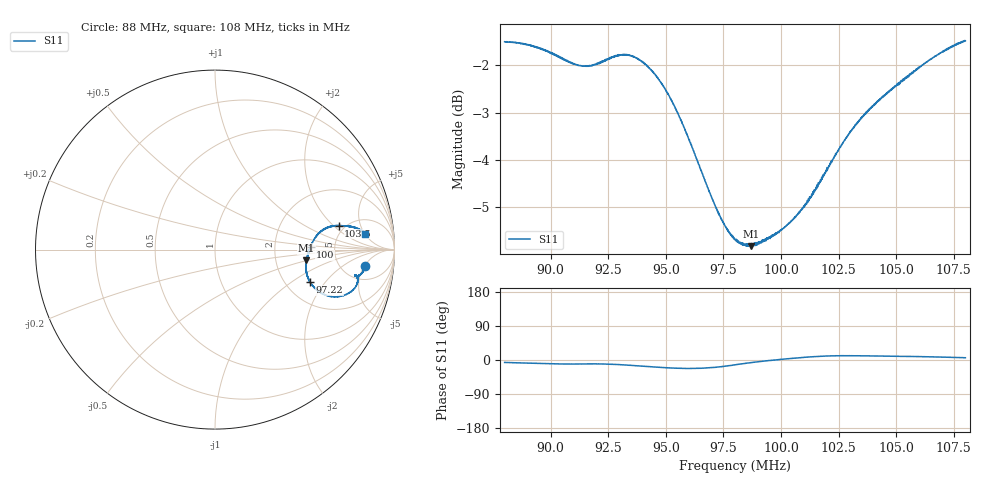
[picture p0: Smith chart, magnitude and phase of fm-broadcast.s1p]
! Calibrated averaged scanner-service zoom
# Hz S RI R 50
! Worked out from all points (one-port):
!   2001 points, 88 MHz to 108 MHz, reference 50 ohm
!   lowest |S11| = -5.8 dB at 98.71 MHz (marker M1), VSWR 3.10, Z = 150 - j24.7 ohm
!   |S11| at or under -10 dB: nowhere
!   S11 on the Smith chart (normalised r, x): 88 MHz: 8.17, -5.24; 97.22 MHz: 2.71, -1.42; 100 MHz: 3.27, +0.15; 103.5 MHz: 4.42, +2.33; 108 MHz: 8.54, +5.17
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8.8e7  0.8355 -0.094
8.917e7  0.824 -0.1251
9.05e7  0.7927 -0.1463
9.129e7  0.7799 -0.1451
9.203e7  0.7849 -0.1426
9.249e7  0.7913 -0.1508
9.3e7  0.795 -0.1735
9.355e7  0.786 -0.2025
9.414e7  0.7604 -0.2321
9.487e7  0.7105 -0.2574
9.55e7  0.6574 -0.2627
9.592e7  0.6208 -0.2549
9.63e7  0.5885 -0.2403
9.677e7  0.5546 -0.2127
9.722e7  0.5301 -0.1798
9.759e7  0.515 -0.15
9.8e7  0.5067 -0.1155
9.871e7  0.5083 -0.0606
1.0002e8  0.5321 0.0161
1.005e8  0.5438 0.0419
1.012e8  0.5674 0.0791
1.0187e8  0.5986 0.1095
1.0243e8  0.6304 0.126
1.03e8  0.663 0.1332
1.0354e8  0.6889 0.1339
1.055e8  0.7638 0.1264
1.0693e8  0.811 0.1102
1.08e8  0.8379 0.0878
